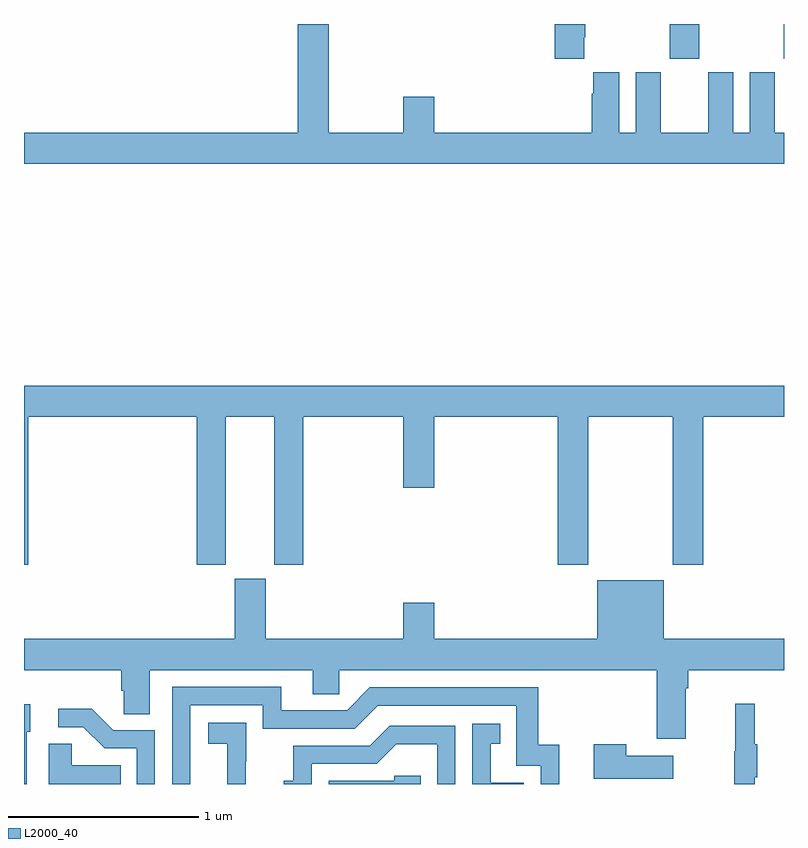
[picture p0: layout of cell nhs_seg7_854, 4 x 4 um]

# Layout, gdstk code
import gdstk
lib = gdstk.Library(unit=1e-6, precision=1e-09)
def R(c, l, rs):  # rectangles x0, y0, x1, y1
    for r in rs: c.add(gdstk.rectangle(r[:2], r[2:], *l))
def P(c, l, *ps):  # polygons
    for p in ps: c.add(gdstk.Polygon(p, *l))
L2000_40 = (2000, 40)

nhs_seg7_854 = lib.new_cell('nhs_seg7_854')
R(nhs_seg7_854, L2000_40, [(178.399,1019.817,178.554,1020), (178.999,1019.817,179,1020)])
P(nhs_seg7_854, L2000_40, [(179,1019.428),(178.951,1019.428),(178.951,1019.746),(178.82,1019.746),(178.82,1019.428),(178.732,1019.428),(178.732,1019.746),(178.601,1019.746),(178.601,1019.428),(178.351,1019.428),(178.351,1019.746),(178.22,1019.746),(178.22,1019.428),(178.132,1019.428),(178.132,1019.746),(177.995,1019.746),(177.995,1019.633),(177.989,1019.633),(177.989,1019.428),(177.16,1019.428),(177.16,1019.617),(176.996,1019.617),(176.996,1019.428),(176.605,1019.428),(176.605,1020),(176.441,1020),(176.441,1019.428),(175,1019.428),(175,1019.264),(179,1019.264)],
  [(177.949,1019.929),(177.954,1019.929),(177.954,1020),(177.794,1020),(177.794,1019.817),(177.949,1019.817)],
  [(175.022,1017.932),(175.91,1017.932),(175.91,1017.153),(176.062,1017.153),(176.062,1017.932),(176.318,1017.932),(176.318,1017.153),(176.471,1017.153),(176.471,1017.932),(176.996,1017.932),(176.996,1017.558),(177.16,1017.558),(177.16,1017.932),(177.809,1017.932),(177.809,1017.153),(177.969,1017.153),(177.969,1017.932),(178.414,1017.932),(178.414,1017.153),(178.574,1017.153),(178.574,1017.932),(179,1017.932),(179,1018.096),(175,1018.096),(175,1017.153),(175.022,1017.153)],
  [(178.016,1016.764),(177.16,1016.764),(177.16,1016.953),(176.996,1016.953),(176.996,1016.764),(176.272,1016.764),(176.272,1017.081),(176.108,1017.081),(176.108,1016.764),(175,1016.764),(175,1016.6),(175.511,1016.6),(175.511,1016.491),(175.524,1016.491),(175.524,1016.368),(175.663,1016.368),(175.663,1016.6),(176.519,1016.6),(176.519,1016.473),(176.658,1016.473),(176.658,1016.6),(178.331,1016.6),(178.331,1016.238),(178.483,1016.238),(178.483,1016.504),(178.496,1016.504),(178.496,1016.6),(179,1016.6),(179,1016.764),(178.366,1016.764),(178.366,1017.073),(178.016,1017.073)],
  [(175.875,1016.415),(176.256,1016.415),(176.256,1016.292),(176.742,1016.292),(176.862,1016.412),(177.591,1016.412),(177.591,1016.097),(177.72,1016.097),(177.72,1016),(177.818,1016),(177.818,1016.206),(177.707,1016.206),(177.707,1016.508),(176.82,1016.508),(176.7,1016.388),(176.353,1016.388),(176.353,1016.511),(175.779,1016.511),(175.779,1016),(175.875,1016)],
  [(178.847,1016.035),(178.858,1016.035),(178.858,1016.209),(178.847,1016.209),(178.847,1016.422),(178.744,1016.422),(178.744,1016.172),(178.737,1016.172),(178.737,1016),(178.847,1016)],
  [(175.014,1016.274),(175.033,1016.274),(175.033,1016.419),(175,1016.419),(175,1016),(175.014,1016)],
  [(175.689,1016.283),(175.47,1016.283),(175.357,1016.396),(175.179,1016.396),(175.179,1016.298),(175.313,1016.298),(175.424,1016.187),(175.593,1016.187),(175.593,1016),(175.689,1016)],
  [(176.168,1016.117),(176.169,1016.117),(176.169,1016.323),(175.971,1016.323),(175.971,1016.213),(176.069,1016.213),(176.069,1016),(176.168,1016)],
  [(177.63,1016.007),(177.457,1016.007),(177.457,1016.211),(177.506,1016.211),(177.506,1016.317),(177.36,1016.317),(177.36,1016),(177.63,1016)],
  [(176.514,1016.106),(176.856,1016.106),(176.96,1016.21),(177.174,1016.21),(177.174,1016),(177.27,1016),(177.27,1016.307),(176.924,1016.307),(176.819,1016.202),(176.416,1016.202),(176.416,1016.017),(176.367,1016.017),(176.367,1016),(176.514,1016)],
  [(175.508,1016.098),(175.251,1016.098),(175.251,1016.213),(175.13,1016.213),(175.13,1016),(175.508,1016)],
  [(178.417,1016.149),(178.169,1016.149),(178.169,1016.209),(177.998,1016.209),(177.998,1016.027),(178.417,1016.027)],
  [(177.089,1016.043),(176.949,1016.043),(176.949,1016.016),(176.604,1016.016),(176.604,1016),(177.089,1016)])

lib.write_gds('nhs_seg7_854.gds')
